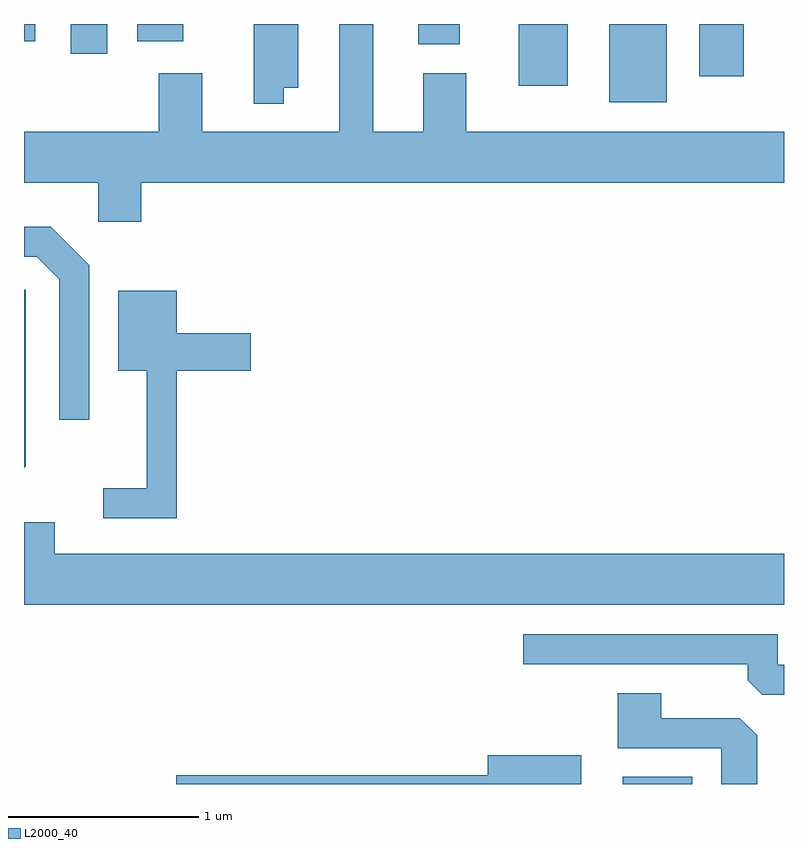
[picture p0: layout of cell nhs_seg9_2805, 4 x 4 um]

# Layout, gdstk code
import gdstk
lib = gdstk.Library(unit=1e-6, precision=1e-09)
def R(c, l, rs):  # rectangles x0, y0, x1, y1
    for r in rs: c.add(gdstk.rectangle(r[:2], r[2:], *l))
def P(c, l, *ps):  # polygons
    for p in ps: c.add(gdstk.Polygon(p, *l))
L2000_40 = (2000, 40)

nhs_seg9_2805 = lib.new_cell('nhs_seg9_2805')
R(nhs_seg9_2805, L2000_40, [(270.761,1986.432,271.129,1986.469), (270.691,1990.021,270.994,1990.432), (270.216,1990.106,270.474,1990.432), (271.166,1990.156,271.399,1990.432), (267.856,1990.276,268.049,1990.432), (269.686,1990.326,269.904,1990.432), (267.611,1990.341,267.669,1990.432), (268.206,1990.341,268.449,1990.432)])
P(nhs_seg9_2805, L2000_40, [(271.611,1989.864),(269.939,1989.864),(269.939,1990.174),(269.711,1990.174),(269.711,1989.864),(269.449,1989.864),(269.449,1990.432),(269.271,1990.432),(269.271,1989.864),(268.549,1989.864),(268.549,1990.174),(268.321,1990.174),(268.321,1989.864),(267.611,1989.864),(267.611,1989.596),(268.001,1989.596),(268.001,1989.391),(268.229,1989.391),(268.229,1989.596),(271.611,1989.596)],
  [(268.979,1990.096),(269.054,1990.096),(269.054,1990.432),(268.821,1990.432),(268.821,1990.013),(268.979,1990.013)],
  [(267.954,1989.162),(267.752,1989.364),(267.611,1989.364),(267.611,1989.206),(267.679,1989.206),(267.796,1989.089),(267.796,1988.348),(267.954,1988.348)],
  [(267.619,1988.104),(267.619,1989.034),(267.611,1989.034),(267.611,1988.096)],
  [(268.414,1988.606),(268.804,1988.606),(268.804,1988.804),(268.414,1988.804),(268.414,1989.029),(268.106,1989.029),(268.106,1988.606),(268.256,1988.606),(268.256,1987.989),(268.028,1987.989),(268.028,1987.831),(268.414,1987.831)],
  [(271.611,1987.644),(267.774,1987.644),(267.774,1987.809),(267.611,1987.809),(267.611,1987.376),(271.611,1987.376)],
  [(271.611,1987.059),(271.579,1987.059),(271.579,1987.219),(270.238,1987.219),(270.238,1987.061),(271.421,1987.061),(271.421,1986.977),(271.497,1986.901),(271.611,1986.901)],
  [(271.469,1986.689),(271.379,1986.779),(270.964,1986.779),(270.964,1986.909),(270.736,1986.909),(270.736,1986.621),(271.281,1986.621),(271.281,1986.432),(271.469,1986.432)],
  [(270.544,1986.584),(270.051,1986.584),(270.051,1986.479),(268.411,1986.479),(268.411,1986.432),(270.544,1986.432)])

lib.write_gds('nhs_seg9_2805.gds')
